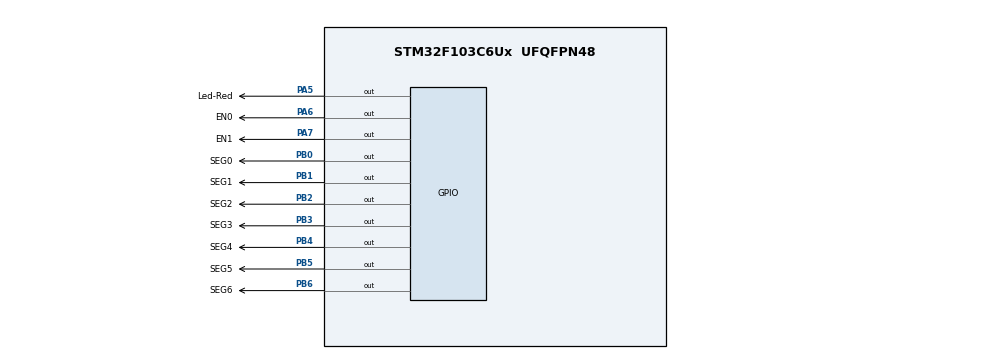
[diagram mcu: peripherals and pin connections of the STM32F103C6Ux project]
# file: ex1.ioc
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Mcu.Family=STM32F1
Mcu.Name=STM32F103C6Ux
Mcu.Package=UFQFPN48
NVIC.PriorityGroup=NVIC_PRIORITYGROUP_4
NVIC.TIM2_IRQn=true\:0\:0\:false\:false\:true\:true\:true
PA5.GPIO_Label=Led-Red
PA5.Signal=GPIO_Output
PA6.GPIO_Label=EN0
PA6.Signal=GPIO_Output
PA7.GPIO_Label=EN1
PA7.Signal=GPIO_Output
PB0.GPIO_Label=SEG0
PB0.Signal=GPIO_Output
PB1.GPIO_Label=SEG1
PB1.Signal=GPIO_Output
PB2.GPIO_Label=SEG2
PB2.Signal=GPIO_Output
PB3.GPIO_Label=SEG3
PB3.Signal=GPIO_Output
PB4.GPIO_Label=SEG4
PB4.Signal=GPIO_Output
PB5.GPIO_Label=SEG5
PB5.Signal=GPIO_Output
PB6.GPIO_Label=SEG6
PB6.Signal=GPIO_Output
ProjectManager.HeapSize=0x200
ProjectManager.StackSize=0x400
ProjectManager.TargetToolchain=STM32CubeIDE
RCC.APB1Freq_Value=8000000
RCC.APB2Freq_Value=8000000
TIM2.Period=9
TIM2.Prescaler=7999
VP_SYS_VS_ND.Mode=No_Debug
VP_TIM2_VS_ClockSourceINT.Mode=Internal
board=custom

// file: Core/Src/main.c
/* USER CODE BEGIN Header */
/**
  ******************************************************************************
  * @file           : main.c
  * @brief          : Main program body
  ******************************************************************************
  * @attention
  *
  * <h2><center>&copy; Copyright (c) 2026 STMicroelectronics.
  * All rights reserved.</center></h2>
  *
  * This software component is licensed by ST under BSD 3-Clause license,
  * the "License"; You may not use this file except in compliance with the
  * License. You may obtain a copy of the License at:
  *                        opensource.org/licenses/BSD-3-Clause
  *
  ******************************************************************************
  */
/* USER CODE END Header */
#include "main.h"

TIM_HandleTypeDef htim2;

void SystemClock_Config(void);
static void MX_GPIO_Init(void);
static void MX_TIM2_Init(void);
/* USER CODE BEGIN PFP */
void display7SEG(int num);
/* USER CODE END PFP */

/* USER CODE BEGIN 0 */

/* display7SEG: reused from Lab 1, pin array renamed to this project's
 * SEG0_Pin..SEG6_Pin (a..g). Still active-low (common-anode 7SEG). */
void display7SEG(int num) {
    const uint16_t segPins[7] = {
        SEG0_Pin, SEG1_Pin, SEG2_Pin, SEG3_Pin, SEG4_Pin, SEG5_Pin, SEG6_Pin
    };

    const uint8_t segOn[10][7] = {
        {1,1,1,1,1,1,0}, // 0
        {0,1,1,0,0,0,0}, // 1
        {1,1,0,1,1,0,1}, // 2
        {1,1,1,1,0,0,1}, // 3
        {0,1,1,0,0,1,1}, // 4
        {1,0,1,1,0,1,1}, // 5
        {1,0,1,1,1,1,1}, // 6
        {1,1,1,0,0,0,0}, // 7
        {1,1,1,1,1,1,1}, // 8
        {1,1,1,1,0,1,1}  // 9
    };

    if (num < 0 || num > 9) return;

    for (int i = 0; i < 7; i++) {
        HAL_GPIO_WritePin(GPIOB, segPins[i], segOn[num][i] ? GPIO_PIN_RESET : GPIO_PIN_SET);
    }
}

/* Switching state: which digit (0 or 1) is currently powered on,
 * and a 10ms tick counter used to time the 500ms switch (500/10 = 50 ticks). */
int activeDigit = 0;
int switchCounter = 0;
#define SWITCH_TICKS 50   // 50 x 10ms = 500ms

/* USER CODE END 0 */

int main(void)
{

  /* MCU Configuration--------------------------------------------------------*/

  /* Reset of all peripherals, Initializes the Flash interface and the Systick. */
  HAL_Init();

  /* Configure the system clock */
  SystemClock_Config();

  /* Initialize all configured peripherals */
  MX_GPIO_Init();
  MX_TIM2_Init();
  /* USER CODE BEGIN 2 */
  HAL_TIM_Base_Start_IT(&htim2);
  /* USER CODE END 2 */

  /* Infinite loop */
  while (1)
  {

  }
}

void SystemClock_Config(void)
{
  RCC_OscInitTypeDef RCC_OscInitStruct = {0};
  RCC_ClkInitTypeDef RCC_ClkInitStruct = {0};

  /** Initializes the RCC Oscillators according to the specified parameters
  * in the RCC_OscInitTypeDef structure.
  */
  RCC_OscInitStruct.OscillatorType = RCC_OSCILLATORTYPE_HSI;
  RCC_OscInitStruct.HSIState = RCC_HSI_ON;
  RCC_OscInitStruct.HSICalibrationValue = RCC_HSICALIBRATION_DEFAULT;
  RCC_OscInitStruct.PLL.PLLState = RCC_PLL_NONE;
  if (HAL_RCC_OscConfig(&RCC_OscInitStruct) != HAL_OK)
  {
    Error_Handler();
  }
  /** Initializes the CPU, AHB and APB buses clocks
  */
  RCC_ClkInitStruct.ClockType = RCC_CLOCKTYPE_HCLK|RCC_CLOCKTYPE_SYSCLK
                              |RCC_CLOCKTYPE_PCLK1|RCC_CLOCKTYPE_PCLK2;
  RCC_ClkInitStruct.SYSCLKSource = RCC_SYSCLKSOURCE_HSI;
  RCC_ClkInitStruct.AHBCLKDivider = RCC_SYSCLK_DIV1;
  RCC_ClkInitStruct.APB1CLKDivider = RCC_HCLK_DIV1;
  RCC_ClkInitStruct.APB2CLKDivider = RCC_HCLK_DIV1;

  if (HAL_RCC_ClockConfig(&RCC_ClkInitStruct, FLASH_LATENCY_0) != HAL_OK)
  {
    Error_Handler();
  }
}

static void MX_TIM2_Init(void)
{

  TIM_ClockConfigTypeDef sClockSourceConfig = {0};
  TIM_MasterConfigTypeDef sMasterConfig = {0};

  htim2.Instance = TIM2;
  htim2.Init.Prescaler = 7999;
  htim2.Init.CounterMode = TIM_COUNTERMODE_UP;
  htim2.Init.Period = 9;
  htim2.Init.ClockDivision = TIM_CLOCKDIVISION_DIV1;
  htim2.Init.AutoReloadPreload = TIM_AUTORELOAD_PRELOAD_DISABLE;
  if (HAL_TIM_Base_Init(&htim2) != HAL_OK)
  {
    Error_Handler();
  }
  sClockSourceConfig.ClockSource = TIM_CLOCKSOURCE_INTERNAL;
  if (HAL_TIM_ConfigClockSource(&htim2, &sClockSourceConfig) != HAL_OK)
  {
    Error_Handler();
  }
  sMasterConfig.MasterOutputTrigger = TIM_TRGO_RESET;
  sMasterConfig.MasterSlaveMode = TIM_MASTERSLAVEMODE_DISABLE;
  if (HAL_TIMEx_MasterConfigSynchronization(&htim2, &sMasterConfig) != HAL_OK)
  {
    Error_Handler();
  }

}

static void MX_GPIO_Init(void)
{
  GPIO_InitTypeDef GPIO_InitStruct = {0};

  /* GPIO Ports Clock Enable */
  __HAL_RCC_GPIOA_CLK_ENABLE();
  __HAL_RCC_GPIOB_CLK_ENABLE();

  /*Configure GPIO pin Output Level */
  HAL_GPIO_WritePin(GPIOA, Led_Red_Pin|EN0_Pin|EN1_Pin, GPIO_PIN_RESET);

  /*Configure GPIO pin Output Level */
  HAL_GPIO_WritePin(GPIOB, SEG0_Pin|SEG1_Pin|SEG2_Pin|SEG3_Pin
                          |SEG4_Pin|SEG5_Pin|SEG6_Pin, GPIO_PIN_RESET);

  /*Configure GPIO pins : Led_Red_Pin EN0_Pin EN1_Pin */
  GPIO_InitStruct.Pin = Led_Red_Pin|EN0_Pin|EN1_Pin;
  GPIO_InitStruct.Mode = GPIO_MODE_OUTPUT_PP;
  GPIO_InitStruct.Pull = GPIO_NOPULL;
  GPIO_InitStruct.Speed = GPIO_SPEED_FREQ_LOW;
  HAL_GPIO_Init(GPIOA, &GPIO_InitStruct);

  /*Configure GPIO pins : SEG0_Pin SEG1_Pin SEG2_Pin SEG3_Pin
                           SEG4_Pin SEG5_Pin SEG6_Pin */
  GPIO_InitStruct.Pin = SEG0_Pin|SEG1_Pin|SEG2_Pin|SEG3_Pin
                          |SEG4_Pin|SEG5_Pin|SEG6_Pin;
  GPIO_InitStruct.Mode = GPIO_MODE_OUTPUT_PP;
  GPIO_InitStruct.Pull = GPIO_NOPULL;
  GPIO_InitStruct.Speed = GPIO_SPEED_FREQ_LOW;
  HAL_GPIO_Init(GPIOB, &GPIO_InitStruct);

}

/* USER CODE BEGIN 4 */

void HAL_TIM_PeriodElapsedCallback(TIM_HandleTypeDef *htim)
{
  switchCounter++;
  if (switchCounter >= SWITCH_TICKS)
  {
    switchCounter = 0;

    if (activeDigit == 0)
    {
      display7SEG(1);
      HAL_GPIO_WritePin(GPIOA, EN0_Pin, GPIO_PIN_RESET); // turn ON digit 1
      HAL_GPIO_WritePin(GPIOA, EN1_Pin, GPIO_PIN_SET);   // turn OFF digit 2
    }
    else
    {
      display7SEG(2);
      HAL_GPIO_WritePin(GPIOA, EN1_Pin, GPIO_PIN_RESET); // turn ON digit 2
      HAL_GPIO_WritePin(GPIOA, EN0_Pin, GPIO_PIN_SET);   // turn OFF digit 1
    }
    activeDigit = 1 - activeDigit;
  }
}

/* USER CODE END 4 */

void Error_Handler(void)
{
  __disable_irq();
  while (1)
  {
  }
}

/************************ (C) COPYRIGHT STMicroelectronics *****END OF FILE****/
